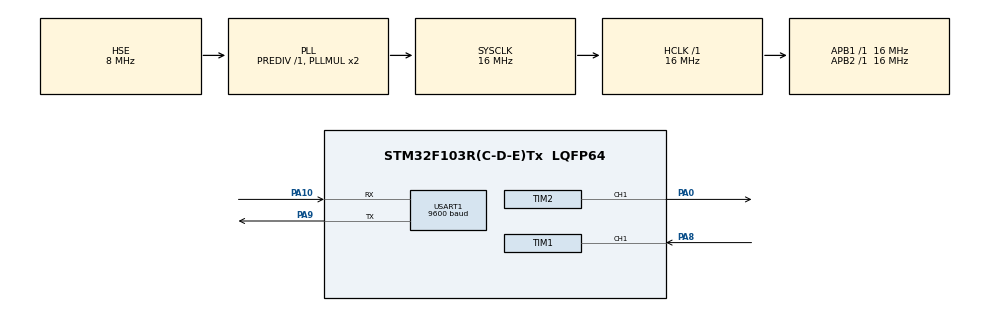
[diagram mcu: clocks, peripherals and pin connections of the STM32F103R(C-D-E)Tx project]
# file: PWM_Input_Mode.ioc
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Mcu.Family=STM32F1
Mcu.Name=STM32F103R(C-D-E)Tx
Mcu.Package=LQFP64
NVIC.PriorityGroup=NVIC_PRIORITYGROUP_4
NVIC.TIM1_CC_IRQn=true\:0\:0\:false\:false\:true\:true\:true
PA0-WKUP.Signal=S_TIM2_CH1_ETR
PA10.Mode=Asynchronous
PA10.Signal=USART1_RX
PA8.Signal=S_TIM1_CH1
PA9.Mode=Asynchronous
PA9.Signal=USART1_TX
PC14-OSC32_IN.Mode=LSE-External-Clock-Source
PC14-OSC32_IN.Signal=RCC_OSC32_IN
PC15-OSC32_OUT.Mode=LSE-External-Clock-Source
PC15-OSC32_OUT.Signal=RCC_OSC32_OUT
PD0-OSC_IN.Mode=HSE-External-Oscillator
PD0-OSC_IN.Signal=RCC_OSC_IN
PD1-OSC_OUT.Mode=HSE-External-Oscillator
PD1-OSC_OUT.Signal=RCC_OSC_OUT
ProjectManager.HeapSize=0x200
ProjectManager.StackSize=0x400
ProjectManager.TargetToolchain=MDK-ARM V5.27
RCC.AHBFreq_Value=16000000
RCC.APB1Freq_Value=16000000
RCC.APB1TimFreq_Value=16000000
RCC.APB2Freq_Value=16000000
RCC.APB2TimFreq_Value=16000000
RCC.HCLKFreq_Value=16000000
RCC.PLLSourceVirtual=RCC_PLLSOURCE_HSE
RCC.SYSCLKFreq_VALUE=16000000
RCC.SYSCLKSource=RCC_SYSCLKSOURCE_PLLCLK
RCC.USBFreq_Value=16000000
SH.S_TIM1_CH1.0=TIM1_CH1,Input_Capture1_from_TI1
SH.S_TIM2_CH1_ETR.0=TIM2_CH1,PWM Generation1 CH1
TIM1.Channel-Input_Capture1_from_TI1=TIM_CHANNEL_1
TIM2.Channel-PWM\ Generation1\ CH1=TIM_CHANNEL_1
TIM2.Period=100-1
TIM2.Prescaler=160-1
TIM2.Pulse-PWM\ Generation1\ CH1=50
USART1.BaudRate=9600
USART1.VirtualMode=VM_ASYNC
VP_SYS_VS_ND.Mode=No_Debug
VP_TIM1_VS_ClockSourceINT.Mode=Internal
VP_TIM2_VS_ClockSourceINT.Mode=Internal
board=custom

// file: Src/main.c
/* USER CODE BEGIN Header */
/**
  ******************************************************************************
  * @file           : main.c
  * @brief          : Main program body
  ******************************************************************************
  * @attention
  *
  * <h2><center>&copy; Copyright (c) 2020 STMicroelectronics.
  * All rights reserved.</center></h2>
  *
  * This software component is licensed by ST under BSD 3-Clause license,
  * the "License"; You may not use this file except in compliance with the
  * License. You may obtain a copy of the License at:
  *                        opensource.org/licenses/BSD-3-Clause
  *
  ******************************************************************************
  */
/* USER CODE END Header */

#include "main.h"
#include "tim.h"
#include "usart.h"
#include "gpio.h"

/* USER CODE BEGIN Includes */
#include "stdio.h"
/* USER CODE END Includes */

/* USER CODE BEGIN PTD */
//#define  TIM_INPUTCHANNELPOLARITY_RISING      0x00000000U
//#define  TIM_INPUTCHANNELPOLARITY_FALLING     TIM_CCER_CC1P
uint32_t value1 ;
uint32_t value2 ;
uint32_t count ;
uint8_t startPWM = 'f';
double highTime ;
void HAL_TIM_IC_CaptureCallback(TIM_HandleTypeDef *htim){
	if(htim->Instance == TIM1){

		count++ ;
		if(startPWM == 'o'){
			printf("enter");
			HAL_TIM_IC_Stop_IT(&htim1,TIM_CHANNEL_1);
			HAL_Delay(1);
			HAL_TIM_PWM_Start(&htim2,TIM_CHANNEL_1);
		}
		//printf("I have enter inputInterrupt\r\n");
//		if(HAL_GPIO_ReadPin(GPIOA,GPIO_PIN_8)==1){
//			printf("i am falling\r\n");
//			value1 = HAL_TIM_ReadCapturedValue(&htim2,TIM_CHANNEL_1);
//			//mf_change_ICSelection(TIM_INPUTCHANNELPOLARITY_FALLING);
//		}
//		else{
//			value2 = HAL_TIM_ReadCapturedValue(&htim2,TIM_CHANNEL_1);
//			if(value1 < value2){
//				highTime = (value2-value1)*1000000.0/100000 ;
//				//printf("highTime == %.3lf us\r\n",highTime);
//				printf("value2 == %d\r\n",value2);
//			}else{
//				printf("error\r\n");
//			}
//			mf_change_ICSelection(TIM_INPUTCHANNELPOLARITY_RISING);
//		}
	}
}
/* USER CODE END PTD */

void SystemClock_Config(void);

int main(void)
{
  /* USER CODE BEGIN 1 */
uint32_t mf_frequency;
  /* USER CODE END 1 */

  /* MCU Configuration--------------------------------------------------------*/

  /* Reset of all peripherals, Initializes the Flash interface and the Systick. */
  HAL_Init();

  /* Configure the system clock */
  SystemClock_Config();

  /* Initialize all configured peripherals */
  MX_GPIO_Init();
  MX_TIM1_Init();
  MX_TIM2_Init();
  MX_USART1_UART_Init();
  /* USER CODE BEGIN 2 */
for(int i = 0 ; i < 4 ; i++){
	printf("I will began!!!\r\n");
}
//HAL_TIM_PWM_Start(&htim2,TIM_CHANNEL_1);

  /* USER CODE END 2 */

  /* Infinite loop */
  /* USER CODE BEGIN WHILE */
  while (1)
  {
		count=0;
		HAL_TIM_IC_Start_IT(&htim1,TIM_CHANNEL_1);
		HAL_Delay(1000);
		HAL_TIM_IC_Stop_IT(&htim1,TIM_CHANNEL_1);
		mf_frequency = count - 1.0*count/1000 + 1 ;
		printf("f=%d\r\n",mf_frequency);
		HAL_Delay(1000);
		startPWM = 'o';
		HAL_TIM_IC_Start_IT(&htim1,TIM_CHANNEL_1);
		HAL_Delay(10000);
    /* USER CODE END WHILE */

  }
}

void SystemClock_Config(void)
{
  RCC_OscInitTypeDef RCC_OscInitStruct = {0};
  RCC_ClkInitTypeDef RCC_ClkInitStruct = {0};

  /** Initializes the CPU, AHB and APB busses clocks
  */
  RCC_OscInitStruct.OscillatorType = RCC_OSCILLATORTYPE_HSE;
  RCC_OscInitStruct.HSEState = RCC_HSE_ON;
  RCC_OscInitStruct.HSEPredivValue = RCC_HSE_PREDIV_DIV1;
  RCC_OscInitStruct.HSIState = RCC_HSI_ON;
  RCC_OscInitStruct.PLL.PLLState = RCC_PLL_ON;
  RCC_OscInitStruct.PLL.PLLSource = RCC_PLLSOURCE_HSE;
  RCC_OscInitStruct.PLL.PLLMUL = RCC_PLL_MUL2;
  if (HAL_RCC_OscConfig(&RCC_OscInitStruct) != HAL_OK)
  {
    Error_Handler();
  }
  /** Initializes the CPU, AHB and APB busses clocks
  */
  RCC_ClkInitStruct.ClockType = RCC_CLOCKTYPE_HCLK|RCC_CLOCKTYPE_SYSCLK
                              |RCC_CLOCKTYPE_PCLK1|RCC_CLOCKTYPE_PCLK2;
  RCC_ClkInitStruct.SYSCLKSource = RCC_SYSCLKSOURCE_PLLCLK;
  RCC_ClkInitStruct.AHBCLKDivider = RCC_SYSCLK_DIV1;
  RCC_ClkInitStruct.APB1CLKDivider = RCC_HCLK_DIV1;
  RCC_ClkInitStruct.APB2CLKDivider = RCC_HCLK_DIV1;

  if (HAL_RCC_ClockConfig(&RCC_ClkInitStruct, FLASH_LATENCY_0) != HAL_OK)
  {
    Error_Handler();
  }
}

void Error_Handler(void)
{
}

/************************ (C) COPYRIGHT STMicroelectronics *****END OF FILE****/
